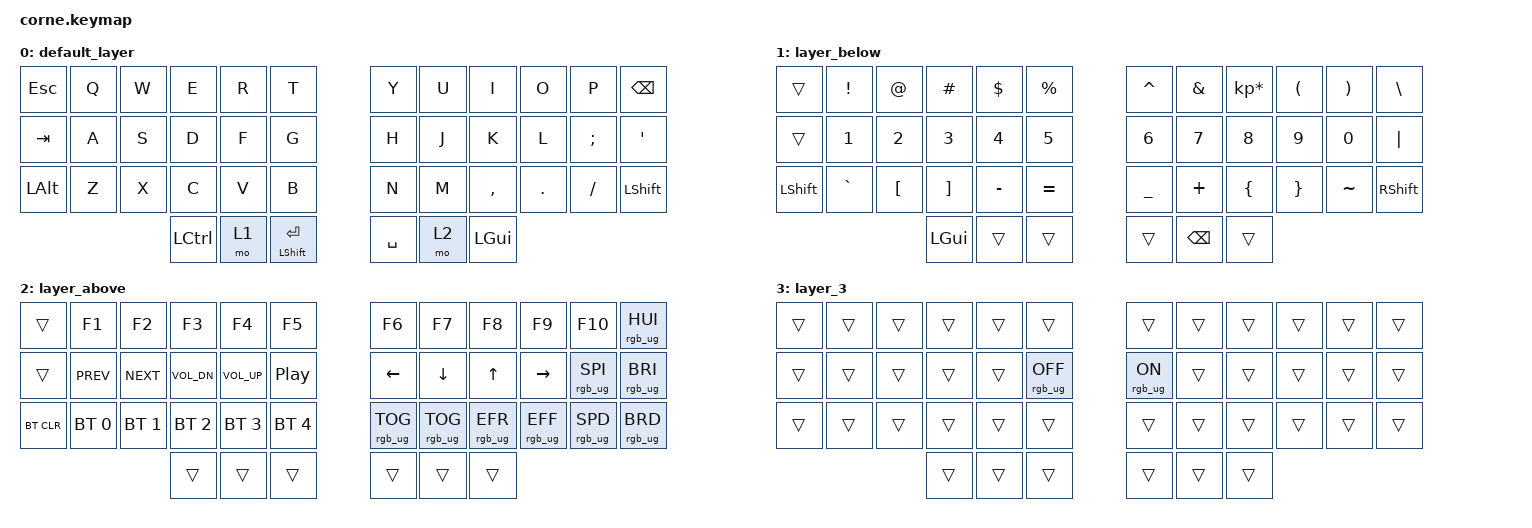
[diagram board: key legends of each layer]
/*
 * Copyright (c) 2020 The ZMK Contributors
 *
 * SPDX-License-Identifier: MIT
 */

#include <behaviors.dtsi>
#include <dt-bindings/zmk/bt.h>
#include <dt-bindings/zmk/keys.h>
#include <dt-bindings/zmk/rgb.h>

/ {
    behaviors {
        tp: tap_preferred {
            compatible = "zmk,behavior-hold-tap";
            label = "TAP_PREFERRED";
            #binding-cells = <2>;
            tapping-term-ms = <150>;
            quick-tap-ms = <0>;
            flavor = "tap-preferred";
            bindings = <&kp>, <&kp>;
        };
    };

    combos { compatible = "zmk,combos"; };

    keymap {
        compatible = "zmk,keymap";

        default_layer {
            // -----------------------------------------------------------------------------------------
            // | TAB  |  Q  |  W  |  E  |  R  |    T    |   |  Y  |  U   |  I  |  O  |  P  | ESC |
            // | CTRL |  A  |  S  |  D  |  F  |    G    |   |  H  |  J   |  K  |  L  |  ;  |  LWR/'   |
            // | SHFT |  Z  |  X  |  C  |  V  |    B    |   |  N  |  M   |  ,  |  .  |  /  | SHFT |
            //                    | GUI | LWR | ALT/ENT |   | HYPER/SPC | BKSP  | RSE |

            bindings = <
&kp ESC       &kp Q  &kp W  &kp E      &kp R  &kp T                   &kp Y      &kp U  &kp I         &kp O    &kp P     &kp BACKSPACE
&kp TAB       &kp A  &kp S  &kp D      &kp F  &kp G                   &kp H      &kp J  &kp K         &kp L    &kp SEMI  &kp APOSTROPHE
&kp LEFT_ALT  &kp Z  &kp X  &kp C      &kp V  &kp B                   &kp N      &kp M  &kp COMMA     &kp DOT  &kp FSLH  &kp LEFT_SHIFT
                            &kp LCTRL  &mo 1  &tp LEFT_SHIFT ENTER    &kp SPACE  &mo 2  &kp LEFT_GUI
            >;
        };

        layer_below {
            // -----------------------------------------------------------------------------------------
            // |      |  !  |  @  |  #  |  $  |    %     |   |  ^  |  &  |  *  |  (  |  )  |   \   |
            // |      |  1  |  2  |  3  |  4  |    5     |   |  -  |  =  |  `  |  [  |  ]  |  "|"  |
            // | SHFT |  6  |  7  |  8  |  9  |    0     |   |  _  |  +  |  ~  |  {  |  }  | RSHFT |
            //                     | GUI |     | ALT/ENT |   | HYPER/SPACE | BKSP |    |

            bindings = <
&trans     &kp EXCL   &kp AT            &kp HASH           &kp DLLR   &kp PRCNT    &kp CARET     &kp AMPS  &kp KP_MULTIPLY  &kp LPAR         &kp RPAR      &kp BSLH
&trans     &kp N1     &kp N2            &kp N3             &kp N4     &kp N5       &kp NUMBER_6  &kp N7    &kp NUMBER_8     &kp NUMBER_9     &kp NUMBER_0  &kp PIPE
&kp LSHFT  &kp GRAVE  &kp LEFT_BRACKET  &kp RIGHT_BRACKET  &kp MINUS  &kp EQUAL    &kp UNDER     &kp PLUS  &kp LEFT_BRACE   &kp RIGHT_BRACE  &kp TILDE     &kp RSHFT
                                        &kp LGUI           &trans     &trans       &trans        &kp BSPC  &trans
            >;
        };

        layer_above {
            // -----------------------------------------------------------------------------------------
            // |       |  F1  |  F2  |  F3  |  F4  |  F5 |            |  F6  |  F7  |  F8  |  F9  |  F10  |   |
            // |       | Prev | Next | Vol - | Vol + | Play/Pause |   |      | LFT | DWN |  UP | RGT |     |     |
            // | BTCLR | BT1 | BT2 | BT3 | BT4 | BT5 |   |            |     |     |     |     |     |     |
            //                    |     |     |    |                  |     |     |     |

            bindings = <
&trans      &kp F1        &kp F2        &kp F3        &kp F4        &kp F5          &kp F6           &kp F7           &kp F8           &kp F9           &kp F10          &rgb_ug RGB_HUI
&trans      &kp C_PREV    &kp C_NEXT    &kp C_VOL_DN  &kp C_VOL_UP  &kp C_PP        &kp LEFT         &kp DOWN         &kp UP           &kp RIGHT        &rgb_ug RGB_SPI  &rgb_ug RGB_BRI
&bt BT_CLR  &bt BT_SEL 0  &bt BT_SEL 1  &bt BT_SEL 2  &bt BT_SEL 3  &bt BT_SEL 4    &rgb_ug RGB_TOG  &rgb_ug RGB_TOG  &rgb_ug RGB_EFR  &rgb_ug RGB_EFF  &rgb_ug RGB_SPD  &rgb_ug RGB_BRD
                                        &trans        &trans        &trans          &trans           &trans           &trans
            >;
        };

        layer_3 {
            bindings = <
&trans  &trans  &trans  &trans  &trans  &trans             &trans          &trans  &trans  &trans  &trans  &trans
&trans  &trans  &trans  &trans  &trans  &rgb_ug RGB_OFF    &rgb_ug RGB_ON  &trans  &trans  &trans  &trans  &trans
&trans  &trans  &trans  &trans  &trans  &trans             &trans          &trans  &trans  &trans  &trans  &trans
                        &trans  &trans  &trans             &trans          &trans  &trans
            >;
        };
    };
};
